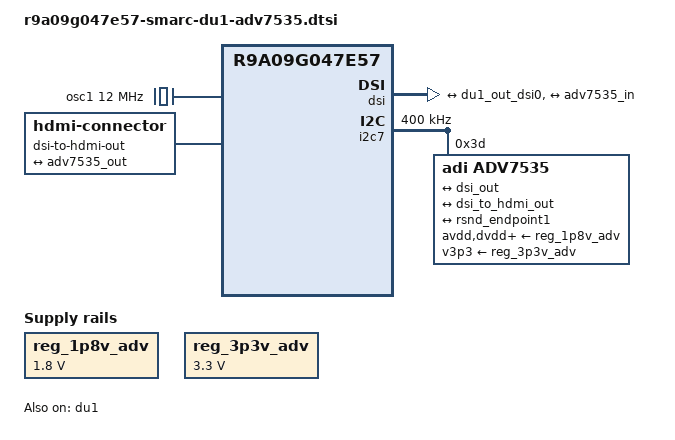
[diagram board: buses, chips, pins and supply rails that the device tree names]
// SPDX-License-Identifier: (GPL-2.0-only OR BSD-2-Clause)
/*
 * Device Tree Source for the R9A09G047E57 SMARC SoM board with
 * ADV7535 MIPI DSI to HDMI transmitter connected to DU1 enabled.
 *
 * Copyright (C) 2025 Renesas Electronics Corp.
 */

/ {
	osc1: cec-clock {
		compatible = "fixed-clock";
		#clock-cells = <0>;
		clock-frequency = <12000000>;
	};

	reg_1p8v_adv: regulator-1p8v-adv {
		compatible = "regulator-fixed";
		regulator-name = "fixed-1.8V";
		regulator-min-microvolt = <1800000>;
		regulator-max-microvolt = <1800000>;
		regulator-boot-on;
		regulator-always-on;
	};

	reg_3p3v_adv: regulator-3p3v-adv {
		compatible = "regulator-fixed";

		regulator-name = "fixed-3.3V";
		regulator-min-microvolt = <3300000>;
		regulator-max-microvolt = <3300000>;
		regulator-boot-on;
		regulator-always-on;
	};

	dsi-to-hdmi-out {
		compatible = "hdmi-connector";
		type = "d";

		port {
			dsi_to_hdmi_out: endpoint {
				remote-endpoint = <&adv7535_out>;
			};
		};
	};
};

&dsi {
	status = "okay";

	ports {
		port@1 {
			dsi_in1: endpoint {
				remote-endpoint = <&du1_out_dsi0>;
			};
		};

		port@2 {
			dsi_out: endpoint {
				remote-endpoint = <&adv7535_in>;
				data-lanes = <1 2 3 4>;
			};
		};
	};
};

&du1 {
	status = "okay";

	ports {
		port@0 {
			du1_out_dsi0: endpoint {
				remote-endpoint = <&dsi_in1>;
			};
		};
	};
};

&i2c7 {
	pinctrl-0 = <&i2c7_pins>;
	pinctrl-names = "default";
	status = "okay";
	clock-frequency = <400000>;

	adv7535: hdmi1@3d {
		compatible = "adi,adv7535";
		reg = <0x3d>, <0x4d>, <0x2d>, <0x5d>;
		reg-names = "main", "edid", "cec", "packet";
		clocks = <&osc1>;
		clock-names = "cec";
		avdd-supply = <&reg_1p8v_adv>;
		dvdd-supply = <&reg_1p8v_adv>;
		pvdd-supply = <&reg_1p8v_adv>;
		a2vdd-supply = <&reg_1p8v_adv>;
		v3p3-supply = <&reg_3p3v_adv>;
		v1p2-supply = <&reg_1p8v_adv>;
		adi,dsi-lanes = <4>;

		ports {
			#address-cells = <1>;
			#size-cells = <0>;

			port@0 {
				reg = <0>;
				adv7535_in: endpoint {
					remote-endpoint = <&dsi_out>;
				};
			};

			port@1 {
				reg = <1>;
				adv7535_out: endpoint {
					remote-endpoint = <&dsi_to_hdmi_out>;
				};
			};

			port@2 {
				reg = <2>;
				adv7535_codec_ep: endpoint {
					remote-endpoint = <&rsnd_endpoint1>;
				};
			};
		};
	};
};

&pinctrl {
	i2c7_pins: i2c7 {
		pinmux = <RZG3E_PORT_PINMUX(A, 4, 4)>, /* SCL */
			 <RZG3E_PORT_PINMUX(A, 5, 4)>; /* SDA */
	};
};
